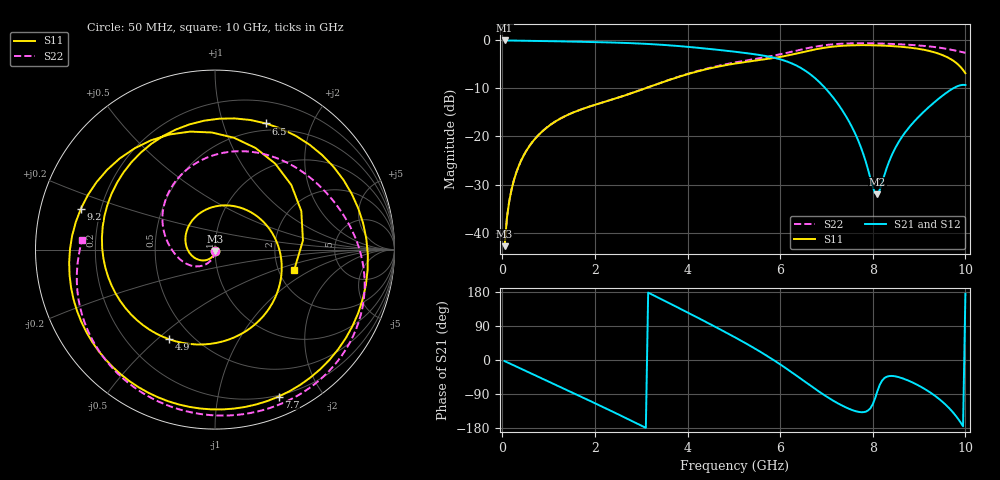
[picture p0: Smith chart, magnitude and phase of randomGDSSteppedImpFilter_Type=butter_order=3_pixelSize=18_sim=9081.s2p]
! freq	dB(S11)	phase(S11)	dB(S12)	phase(S12)
!  dB(S21)	phase(S21)	dB(S22)	phase(S22)
!S-par simulation data
#  GHz  S  DB  R 50
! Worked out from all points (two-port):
!   200 points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, 50 MHz to 10 GHz, reference 50 ohm
!   highest |S21| = -0.01 dB at 50 MHz (marker M1); lowest = -32.0 dB at 8.1 GHz (marker M2)
!   |S21| within 3 dB of the highest: start of sweep to 5.539 GHz
!   lowest |S11| = -42.8 dB at 50 MHz (marker M3), VSWR 1.01, Z = 50 - j0.721 ohm
!   |S11| at or under -10 dB: start of sweep to 3.081 GHz
!   |S22| runs from -42.8 to -0.6 dB; largest |S21 - S12| = 0
!   S11 on the Smith chart (normalised r, x): 50 MHz: 1.00, -0.01; 4.9 GHz: 0.38, -0.55; 6.5 GHz: 0.42, +1.40; 7.7 GHz: 0.19, -1.51; 9.2 GHz: 0.13, +0.15; 10 GHz: 2.44, -0.70
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0.05  -42.84 -91.6  -0.01 -2.9  -0.01 -2.9  -42.81 -90.1
0.2  -31.04 -103.6  -0.02 -11.5  -0.02 -11.5  -31.01 -98.4
0.5  -23.30 -125.5  -0.06 -28.5  -0.06 -28.5  -23.27 -112.3
1.15  -16.86 -172.9  -0.17 -65.4  -0.17 -65.4  -16.85 -139.5
1.75  -14.20 140.2  -0.29 -99.6  -0.29 -99.6  -14.20 -161.2
2.65  -11.44 63.3  -0.52 -152.1  -0.52 -152.1  -11.44 170.7
3.4  -8.91 -0.1  -0.88 162.6  -0.88 162.6  -8.88 143.9
4.2  -6.49 -62.5  -1.51 112.9  -1.51 112.9  -6.41 107.4
4.9  -5.02 -116.9  -2.22 68.1  -2.22 68.1  -4.82 72.5
5.05  -4.79 -129.4  -2.38 58.1  -2.38 58.1  -4.55 65.1
5.8  -3.75 157.4  -3.46 4.4  -3.46 4.4  -3.27 30.0
6.5  -2.41 68.0  -6.03 -54.2  -6.03 -54.2  -1.80 -1.8
6.7  -1.98 41.4  -7.42 -71.6  -7.42 -71.6  -1.40 -11.7
7.15  -1.28 -13.1  -11.94 -107.6  -11.94 -107.6  -0.80 -34.5
7.7  -0.99 -66.6  -21.18 -137.0  -21.18 -137.0  -0.59 -61.4
8.1  -1.03 -99.4  -32.04 -82.3  -32.04 -82.3  -0.63 -80.0
8.35  -1.14 -119.0  -25.28 -42.5  -25.28 -42.5  -0.70 -91.6
8.85  -1.56 -160.6  -17.36 -58.8  -17.36 -58.8  -0.95 -115.3
9.2  -2.15 163.0  -13.97 -82.4  -13.97 -82.4  -1.23 -133.5
9.65  -3.70 91.6  -10.49 -127.2  -10.49 -127.2  -1.85 -160.4
9.85  -5.08 40.3  -9.46 -156.6  -9.46 -156.6  -2.26 -173.7
10  -6.83 -14.4  -9.28 174.7  -9.28 174.7  -2.58 175.9
